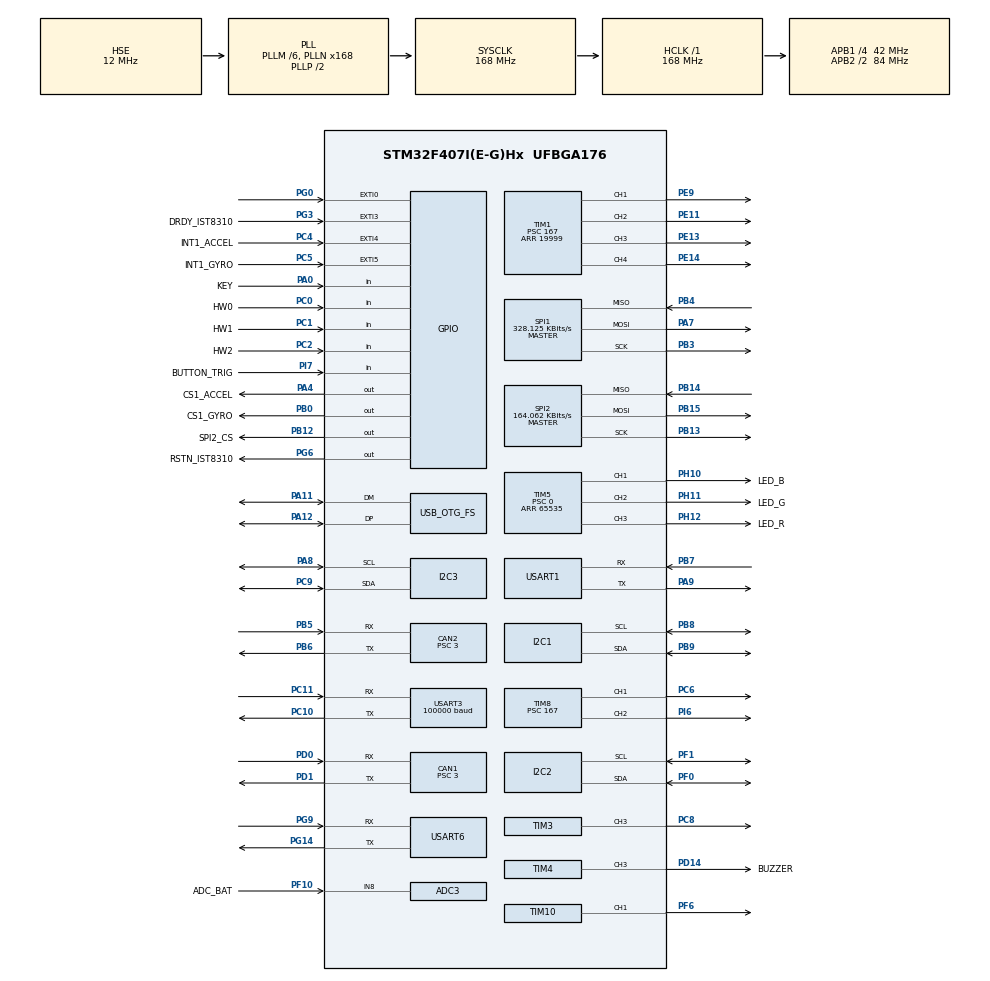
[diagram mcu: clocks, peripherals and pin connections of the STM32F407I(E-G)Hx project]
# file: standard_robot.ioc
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ADC1.Channel-0\#ChannelRegularConversion=ADC_CHANNEL_TEMPSENSOR
ADC1.ClockPrescaler=ADC_CLOCK_SYNC_PCLK_DIV6
ADC1.NbrOfConversionFlag=1
ADC1.Rank-0\#ChannelRegularConversion=1
ADC1.SamplingTime-0\#ChannelRegularConversion=ADC_SAMPLETIME_3CYCLES
ADC1.master=1
ADC3.Channel-0\#ChannelRegularConversion=ADC_CHANNEL_8
ADC3.ClockPrescaler=ADC_CLOCK_SYNC_PCLK_DIV6
ADC3.NbrOfConversionFlag=1
ADC3.Rank-0\#ChannelRegularConversion=1
ADC3.SamplingTime-0\#ChannelRegularConversion=ADC_SAMPLETIME_3CYCLES
CAN1.BS1=CAN_BS1_10TQ
CAN1.BS2=CAN_BS2_3TQ
CAN1.CalculateBaudRate=1000000
CAN1.CalculateTimeBit=999.99
CAN1.CalculateTimeQuantum=71.42857142857143
CAN1.Prescaler=3
CAN2.BS1=CAN_BS1_10TQ
CAN2.BS2=CAN_BS2_3TQ
CAN2.CalculateBaudRate=1000000
CAN2.CalculateTimeBit=999.99
CAN2.CalculateTimeQuantum=71.42857142857143
CAN2.Prescaler=3
Dma.I2C2_TX.2.Direction=DMA_MEMORY_TO_PERIPH
Dma.I2C2_TX.2.FIFOMode=DMA_FIFOMODE_DISABLE
Dma.I2C2_TX.2.Instance=DMA1_Stream7
Dma.I2C2_TX.2.MemDataAlignment=DMA_MDATAALIGN_BYTE
Dma.I2C2_TX.2.MemInc=DMA_MINC_ENABLE
Dma.I2C2_TX.2.Mode=DMA_NORMAL
Dma.I2C2_TX.2.PeriphDataAlignment=DMA_PDATAALIGN_BYTE
Dma.I2C2_TX.2.PeriphInc=DMA_PINC_DISABLE
Dma.I2C2_TX.2.Priority=DMA_PRIORITY_HIGH
Dma.Request0=SPI1_RX
Dma.Request1=SPI1_TX
Dma.Request2=I2C2_TX
Dma.Request3=USART3_RX
Dma.Request4=USART6_RX
Dma.Request5=USART6_TX
Dma.Request6=USART1_TX
Dma.SPI1_RX.0.Direction=DMA_PERIPH_TO_MEMORY
Dma.SPI1_RX.0.FIFOMode=DMA_FIFOMODE_DISABLE
Dma.SPI1_RX.0.Instance=DMA2_Stream2
Dma.SPI1_RX.0.MemDataAlignment=DMA_MDATAALIGN_BYTE
Dma.SPI1_RX.0.MemInc=DMA_MINC_ENABLE
Dma.SPI1_RX.0.Mode=DMA_NORMAL
Dma.SPI1_RX.0.PeriphDataAlignment=DMA_PDATAALIGN_BYTE
Dma.SPI1_RX.0.PeriphInc=DMA_PINC_DISABLE
Dma.SPI1_RX.0.Priority=DMA_PRIORITY_VERY_HIGH
Dma.SPI1_TX.1.Direction=DMA_MEMORY_TO_PERIPH
Dma.SPI1_TX.1.FIFOMode=DMA_FIFOMODE_DISABLE
Dma.SPI1_TX.1.Instance=DMA2_Stream3
Dma.SPI1_TX.1.MemDataAlignment=DMA_MDATAALIGN_BYTE
Dma.SPI1_TX.1.MemInc=DMA_MINC_ENABLE
Dma.SPI1_TX.1.Mode=DMA_NORMAL
Dma.SPI1_TX.1.PeriphDataAlignment=DMA_PDATAALIGN_BYTE
Dma.SPI1_TX.1.PeriphInc=DMA_PINC_DISABLE
Dma.SPI1_TX.1.Priority=DMA_PRIORITY_HIGH
Dma.USART1_TX.6.Direction=DMA_MEMORY_TO_PERIPH
Dma.USART1_TX.6.FIFOMode=DMA_FIFOMODE_DISABLE
Dma.USART1_TX.6.Instance=DMA2_Stream7
Dma.USART1_TX.6.MemDataAlignment=DMA_MDATAALIGN_BYTE
Dma.USART1_TX.6.MemInc=DMA_MINC_ENABLE
Dma.USART1_TX.6.Mode=DMA_NORMAL
Dma.USART1_TX.6.PeriphDataAlignment=DMA_PDATAALIGN_BYTE
Dma.USART1_TX.6.PeriphInc=DMA_PINC_DISABLE
Dma.USART1_TX.6.Priority=DMA_PRIORITY_MEDIUM
Dma.USART3_RX.3.Direction=DMA_PERIPH_TO_MEMORY
Dma.USART3_RX.3.FIFOMode=DMA_FIFOMODE_DISABLE
Dma.USART3_RX.3.Instance=DMA1_Stream1
Dma.USART3_RX.3.MemDataAlignment=DMA_MDATAALIGN_BYTE
Dma.USART3_RX.3.MemInc=DMA_MINC_ENABLE
Dma.USART3_RX.3.Mode=DMA_NORMAL
Dma.USART3_RX.3.PeriphDataAlignment=DMA_PDATAALIGN_BYTE
Dma.USART3_RX.3.PeriphInc=DMA_PINC_DISABLE
Dma.USART3_RX.3.Priority=DMA_PRIORITY_HIGH
Dma.USART6_RX.4.Direction=DMA_PERIPH_TO_MEMORY
Dma.USART6_RX.4.FIFOMode=DMA_FIFOMODE_DISABLE
Dma.USART6_RX.4.Instance=DMA2_Stream1
Dma.USART6_RX.4.MemDataAlignment=DMA_MDATAALIGN_BYTE
Dma.USART6_RX.4.MemInc=DMA_MINC_ENABLE
Dma.USART6_RX.4.Mode=DMA_NORMAL
Dma.USART6_RX.4.PeriphDataAlignment=DMA_PDATAALIGN_BYTE
Dma.USART6_RX.4.PeriphInc=DMA_PINC_DISABLE
Dma.USART6_RX.4.Priority=DMA_PRIORITY_HIGH
Dma.USART6_TX.5.Direction=DMA_MEMORY_TO_PERIPH
Dma.USART6_TX.5.FIFOMode=DMA_FIFOMODE_DISABLE
Dma.USART6_TX.5.Instance=DMA2_Stream6
Dma.USART6_TX.5.MemDataAlignment=DMA_MDATAALIGN_BYTE
Dma.USART6_TX.5.MemInc=DMA_MINC_ENABLE
Dma.USART6_TX.5.Mode=DMA_NORMAL
Dma.USART6_TX.5.PeriphDataAlignment=DMA_PDATAALIGN_BYTE
Dma.USART6_TX.5.PeriphInc=DMA_PINC_DISABLE
Dma.USART6_TX.5.Priority=DMA_PRIORITY_MEDIUM
FREERTOS.INCLUDE_eTaskGetState=1
FREERTOS.INCLUDE_pcTaskGetTaskName=1
FREERTOS.INCLUDE_uxTaskGetStackHighWaterMark=1
FREERTOS.INCLUDE_vTaskCleanUpResources=1
FREERTOS.INCLUDE_vTaskDelayUntil=1
FREERTOS.INCLUDE_xEventGroupSetBitFromISR=1
FREERTOS.INCLUDE_xQueueGetMutexHolder=1
FREERTOS.INCLUDE_xSemaphoreGetMutexHolder=1
FREERTOS.INCLUDE_xTaskAbortDelay=1
FREERTOS.INCLUDE_xTaskGetCurrentTaskHandle=1
FREERTOS.INCLUDE_xTaskGetHandle=1
FREERTOS.INCLUDE_xTimerPendFunctionCall=1
FREERTOS.Tasks01=test,24,128,test_task,As weak,NULL,Dynamic,NULL,NULL
FREERTOS.configTOTAL_HEAP_SIZE=24576
I2C1.I2C_Mode=I2C_Fast
I2C2.I2C_Mode=I2C_Fast
I2C3.I2C_Mode=I2C_Fast
Mcu.Family=STM32F4
Mcu.Name=STM32F407I(E-G)Hx
Mcu.Package=UFBGA176
NVIC.CAN1_RX0_IRQn=true\:6\:0\:true\:false\:true\:true\:true\:true
NVIC.CAN2_RX0_IRQn=true\:6\:0\:true\:false\:true\:true\:true\:true
NVIC.DMA1_Stream1_IRQn=true\:5\:0\:true\:false\:false\:true\:false\:false
NVIC.DMA1_Stream7_IRQn=true\:5\:0\:true\:false\:false\:true\:false\:true
NVIC.DMA2_Stream1_IRQn=true\:5\:0\:true\:false\:true\:true\:false\:true
NVIC.DMA2_Stream2_IRQn=true\:5\:0\:true\:false\:false\:true\:false\:true
NVIC.DMA2_Stream3_IRQn=true\:5\:0\:true\:false\:false\:true\:false\:true
NVIC.DMA2_Stream6_IRQn=true\:5\:0\:true\:false\:true\:true\:false\:true
NVIC.DMA2_Stream7_IRQn=true\:5\:0\:true\:false\:true\:true\:false\:true
NVIC.EXTI0_IRQn=true\:6\:0\:true\:false\:true\:true\:true\:true
NVIC.EXTI3_IRQn=true\:5\:0\:true\:false\:true\:true\:true\:true
NVIC.EXTI4_IRQn=true\:5\:0\:true\:false\:true\:true\:true\:true
NVIC.EXTI9_5_IRQn=true\:5\:0\:true\:false\:true\:true\:true\:true
NVIC.OTG_FS_IRQn=true\:5\:0\:false\:false\:true\:true\:false\:true
NVIC.PriorityGroup=NVIC_PRIORITYGROUP_4
NVIC.USART3_IRQn=true\:4\:0\:true\:false\:false\:false\:true\:true
NVIC.USART6_IRQn=true\:5\:0\:true\:false\:false\:true\:true\:true
PA0-WKUP.GPIO_Label=KEY
PA0-WKUP.GPIO_PuPd=GPIO_PULLUP
PA0-WKUP.Signal=GPIO_Input
PA11.Mode=Device_Only
PA11.Signal=USB_OTG_FS_DM
PA12.Mode=Device_Only
PA12.Signal=USB_OTG_FS_DP
PA13.Mode=Serial_Wire
PA13.Signal=SYS_JTMS-SWDIO
PA14.Mode=Serial_Wire
PA14.Signal=SYS_JTCK-SWCLK
PA4.GPIO_Label=CS1_ACCEL
PA4.GPIO_PuPd=GPIO_PULLUP
PA4.GPIO_Speed=GPIO_SPEED_FREQ_HIGH
PA4.PinState=GPIO_PIN_SET
PA4.Signal=GPIO_Output
PA7.GPIO_PuPd=GPIO_PULLUP
PA7.Mode=Full_Duplex_Master
PA7.Signal=SPI1_MOSI
PA8.Mode=I2C
PA8.Signal=I2C3_SCL
PA9.Mode=Asynchronous
PA9.Signal=USART1_TX
PB0.GPIO_Label=CS1_GYRO
PB0.GPIO_PuPd=GPIO_PULLUP
PB0.GPIO_Speed=GPIO_SPEED_FREQ_HIGH
PB0.PinState=GPIO_PIN_SET
PB0.Signal=GPIO_Output
PB12.GPIO_Label=SPI2_CS
PB12.GPIO_PuPd=GPIO_PULLUP
PB12.GPIO_Speed=GPIO_SPEED_FREQ_MEDIUM
PB12.PinState=GPIO_PIN_SET
PB12.Signal=GPIO_Output
PB13.GPIO_PuPd=GPIO_PULLUP
PB13.Mode=Full_Duplex_Master
PB13.Signal=SPI2_SCK
PB14.GPIO_PuPd=GPIO_PULLUP
PB14.Mode=Full_Duplex_Master
PB14.Signal=SPI2_MISO
PB15.GPIO_PuPd=GPIO_PULLUP
PB15.Mode=Full_Duplex_Master
PB15.Signal=SPI2_MOSI
PB3.GPIO_PuPd=GPIO_PULLUP
PB3.Mode=Full_Duplex_Master
PB3.Signal=SPI1_SCK
PB4.GPIO_PuPd=GPIO_PULLUP
PB4.Mode=Full_Duplex_Master
PB4.Signal=SPI1_MISO
PB5.Mode=CAN_Activate
PB5.Signal=CAN2_RX
PB6.Mode=CAN_Activate
PB6.Signal=CAN2_TX
PB7.Mode=Asynchronous
PB7.Signal=USART1_RX
PB8.Mode=I2C
PB8.Signal=I2C1_SCL
PB9.Mode=I2C
PB9.Signal=I2C1_SDA
PC0.GPIO_Label=HW0
PC0.Signal=GPIO_Input
PC1.GPIO_Label=HW1
PC1.Signal=GPIO_Input
PC10.Mode=Asynchronous
PC10.Signal=USART3_TX
PC11.Mode=Asynchronous
PC11.Signal=USART3_RX
PC2.GPIO_Label=HW2
PC2.Signal=GPIO_Input
PC4.GPIO_Label=INT1_ACCEL
PC4.GPIO_ModeDefaultEXTI=GPIO_MODE_IT_FALLING
PC4.GPIO_PuPd=GPIO_PULLUP
PC4.Signal=GPXTI4
PC5.GPIO_Label=INT1_GYRO
PC5.GPIO_ModeDefaultEXTI=GPIO_MODE_IT_FALLING
PC5.GPIO_PuPd=GPIO_PULLUP
PC5.Signal=GPXTI5
PC6.GPIO_PuPd=GPIO_PULLUP
PC6.GPIO_Speed=GPIO_SPEED_FREQ_HIGH
PC6.Signal=S_TIM8_CH1
PC8.GPIO_PuPd=GPIO_PULLUP
PC8.GPIO_Speed=GPIO_SPEED_FREQ_HIGH
PC8.Signal=S_TIM3_CH3
PC9.Mode=I2C
PC9.Signal=I2C3_SDA
PD0.Mode=CAN_Activate
PD0.Signal=CAN1_RX
PD1.Mode=CAN_Activate
PD1.Signal=CAN1_TX
PD14.GPIO_Label=BUZZER
PD14.GPIO_PuPd=GPIO_PULLUP
PD14.GPIO_Speed=GPIO_SPEED_FREQ_VERY_HIGH
PD14.Signal=S_TIM4_CH3
PE11.GPIO_PuPd=GPIO_PULLUP
PE11.GPIO_Speed=GPIO_SPEED_FREQ_HIGH
PE11.Signal=S_TIM1_CH2
PE13.GPIO_PuPd=GPIO_PULLUP
PE13.GPIO_Speed=GPIO_SPEED_FREQ_HIGH
PE13.Signal=S_TIM1_CH3
PE14.GPIO_PuPd=GPIO_PULLUP
PE14.GPIO_Speed=GPIO_SPEED_FREQ_HIGH
PE14.Signal=S_TIM1_CH4
PE9.GPIO_PuPd=GPIO_PULLUP
PE9.GPIO_Speed=GPIO_SPEED_FREQ_HIGH
PE9.Signal=S_TIM1_CH1
PF0.Mode=I2C
PF0.Signal=I2C2_SDA
PF1.Mode=I2C
PF1.Signal=I2C2_SCL
PF10.GPIO_Label=ADC_BAT
PF10.Mode=IN8
PF10.Signal=ADC3_IN8
PF6.GPIO_PuPd=GPIO_PULLUP
PF6.GPIO_Speed=GPIO_SPEED_FREQ_HIGH
PF6.Signal=S_TIM10_CH1
PG0.GPIO_ModeDefaultEXTI=GPIO_MODE_IT_FALLING
PG0.GPIO_PuPd=GPIO_PULLUP
PG0.Signal=GPXTI0
PG14.Mode=Asynchronous
PG14.Signal=USART6_TX
PG3.GPIO_Label=DRDY_IST8310
PG3.GPIO_ModeDefaultEXTI=GPIO_MODE_IT_FALLING
PG3.GPIO_PuPd=GPIO_PULLUP
PG3.Signal=GPXTI3
PG6.GPIO_Label=RSTN_IST8310
PG6.GPIO_PuPd=GPIO_PULLUP
PG6.GPIO_Speed=GPIO_SPEED_FREQ_MEDIUM
PG6.PinState=GPIO_PIN_SET
PG6.Signal=GPIO_Output
PG9.Mode=Asynchronous
PG9.Signal=USART6_RX
PH0-OSC_IN.Mode=HSE-External-Oscillator
PH0-OSC_IN.Signal=RCC_OSC_IN
PH1-OSC_OUT.Mode=HSE-External-Oscillator
PH1-OSC_OUT.Signal=RCC_OSC_OUT
PH10.GPIO_Label=LED_B
PH10.GPIO_PuPd=GPIO_PULLUP
PH10.GPIO_Speed=GPIO_SPEED_FREQ_HIGH
PH10.Signal=S_TIM5_CH1
PH11.GPIO_Label=LED_G
PH11.GPIO_PuPd=GPIO_PULLUP
PH11.GPIO_Speed=GPIO_SPEED_FREQ_HIGH
PH11.Signal=S_TIM5_CH2
PH12.GPIO_Label=LED_R
PH12.GPIO_PuPd=GPIO_PULLUP
PH12.GPIO_Speed=GPIO_SPEED_FREQ_HIGH
PH12.Signal=S_TIM5_CH3
PI6.GPIO_PuPd=GPIO_PULLUP
PI6.GPIO_Speed=GPIO_SPEED_FREQ_HIGH
PI6.Signal=S_TIM8_CH2
PI7.GPIO_Label=BUTTON_TRIG
PI7.GPIO_PuPd=GPIO_PULLUP
PI7.Signal=GPIO_Input
ProjectManager.HeapSize=0x2000
ProjectManager.StackSize=0x2000
ProjectManager.TargetToolchain=MDK-ARM V5
RCC.48MHZClocksFreq_Value=48000000
RCC.AHBFreq_Value=168000000
RCC.APB1CLKDivider=RCC_HCLK_DIV4
RCC.APB1Freq_Value=42000000
RCC.APB1TimFreq_Value=84000000
RCC.APB2CLKDivider=RCC_HCLK_DIV2
RCC.APB2Freq_Value=84000000
RCC.APB2TimFreq_Value=168000000
RCC.CortexFreq_Value=168000000
RCC.HCLKFreq_Value=168000000
RCC.HSE_VALUE=12000000
RCC.HSI_VALUE=16000000
RCC.LSE_VALUE=32768
RCC.PLLM=6
RCC.PLLN=168
RCC.PLLQ=7
RCC.RCC_RTC_Clock_SourceVirtual=RCC_RTCCLKSOURCE_HSE_DIV30
RCC.RCC_RTC_Clock_Source_FROM_HSE=RCC_RTCCLKSOURCE_HSE_DIV30
RCC.SYSCLKFreq_VALUE=168000000
RCC.SYSCLKSource=RCC_SYSCLKSOURCE_PLLCLK
RCC.VCOOutputFreq_Value=336000000
RTC.AsynchPrediv=124
RTC.SynchPrediv=3199
SH.S_TIM10_CH1.0=TIM10_CH1,PWM Generation1 CH1
SH.S_TIM1_CH1.0=TIM1_CH1,PWM Generation1 CH1
SH.S_TIM1_CH2.0=TIM1_CH2,PWM Generation2 CH2
SH.S_TIM1_CH3.0=TIM1_CH3,PWM Generation3 CH3
SH.S_TIM1_CH4.0=TIM1_CH4,PWM Generation4 CH4
SH.S_TIM3_CH3.0=TIM3_CH3,PWM Generation3 CH3
SH.S_TIM4_CH3.0=TIM4_CH3,PWM Generation3 CH3
SH.S_TIM5_CH1.0=TIM5_CH1,PWM Generation1 CH1
SH.S_TIM5_CH2.0=TIM5_CH2,PWM Generation2 CH2
SH.S_TIM5_CH3.0=TIM5_CH3,PWM Generation3 CH3
SH.S_TIM8_CH1.0=TIM8_CH1,PWM Generation1 CH1
SH.S_TIM8_CH2.0=TIM8_CH2,PWM Generation2 CH2
SPI1.BaudRatePrescaler=SPI_BAUDRATEPRESCALER_256
SPI1.CLKPhase=SPI_PHASE_2EDGE
SPI1.CLKPolarity=SPI_POLARITY_HIGH
SPI1.CalculateBaudRate=328.125 KBits/s
SPI1.Direction=SPI_DIRECTION_2LINES
SPI1.Mode=SPI_MODE_MASTER
SPI1.VirtualType=VM_MASTER
SPI2.BaudRatePrescaler=SPI_BAUDRATEPRESCALER_256
SPI2.CLKPhase=SPI_PHASE_2EDGE
SPI2.CLKPolarity=SPI_POLARITY_HIGH
SPI2.CalculateBaudRate=164.062 KBits/s
SPI2.Direction=SPI_DIRECTION_2LINES
SPI2.Mode=SPI_MODE_MASTER
SPI2.VirtualType=VM_MASTER
TIM1.Channel-PWM\ Generation1\ CH1=TIM_CHANNEL_1
TIM1.Channel-PWM\ Generation2\ CH2=TIM_CHANNEL_2
TIM1.Channel-PWM\ Generation3\ CH3=TIM_CHANNEL_3
TIM1.Channel-PWM\ Generation4\ CH4=TIM_CHANNEL_4
TIM1.Period=19999
TIM1.Prescaler=167
TIM1.Pulse-PWM\ Generation1\ CH1=1000
TIM1.Pulse-PWM\ Generation2\ CH2=1000
TIM1.Pulse-PWM\ Generation3\ CH3=1000
TIM1.Pulse-PWM\ Generation4\ CH4=1000
TIM10.Channel=TIM_CHANNEL_1
TIM10.Period=4999
TIM3.Channel-PWM\ Generation3\ CH3=TIM_CHANNEL_3
TIM3.Period=8399
TIM4.Channel-PWM\ Generation3\ CH3=TIM_CHANNEL_3
TIM4.Period=65535
TIM4.Prescaler=167
TIM5.Channel-PWM\ Generation1\ CH1=TIM_CHANNEL_1
TIM5.Channel-PWM\ Generation2\ CH2=TIM_CHANNEL_2
TIM5.Channel-PWM\ Generation3\ CH3=TIM_CHANNEL_3
TIM5.Period=65535
TIM5.Prescaler=0
TIM8.Channel-PWM\ Generation1\ CH1=TIM_CHANNEL_1
TIM8.Channel-PWM\ Generation2\ CH2=TIM_CHANNEL_2
TIM8.Period=19999
TIM8.Prescaler=167
TIM8.Pulse-PWM\ Generation1\ CH1=1000
TIM8.Pulse-PWM\ Generation2\ CH2=1000
USART1.VirtualMode=VM_ASYNC
USART3.BaudRate=100000
USART3.Parity=PARITY_EVEN
USART3.VirtualMode=VM_ASYNC
USART6.VirtualMode=VM_ASYNC
USB_DEVICE.CLASS_NAME_FS=CDC
USB_DEVICE.VirtualMode-CDC_FS=Cdc
USB_DEVICE.VirtualModeFS=Cdc_FS
USB_OTG_FS.VirtualMode=Device_Only
VP_ADC1_TempSens_Input.Mode=IN-TempSens
VP_ADC1_Vref_Input.Mode=IN-Vrefint
VP_CRC_VS_CRC.Mode=CRC_Activate
VP_FREERTOS_VS_CMSIS_V1.Mode=CMSIS_V1
VP_RNG_VS_RNG.Mode=RNG_Activate
VP_RTC_VS_RTC_Activate.Mode=RTC_Enabled
VP_TIM10_VS_ClockSourceINT.Mode=Enable_Timer
VP_TIM1_VS_ClockSourceINT.Mode=Internal
VP_TIM3_VS_ClockSourceINT.Mode=Internal
VP_TIM4_VS_ClockSourceINT.Mode=Internal
VP_TIM5_VS_ClockSourceINT.Mode=Internal
VP_TIM8_VS_ClockSourceINT.Mode=Internal
VP_USB_DEVICE_VS_USB_DEVICE_CDC_FS.Mode=CDC_FS
board=custom

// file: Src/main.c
/* USER CODE BEGIN Header */
/**
  ******************************************************************************
  * @file           : main.c
  * @brief          : Main program body
  ******************************************************************************
  * @attention
  *
  * <h2><center>&copy; Copyright (c) 2019 STMicroelectronics.
  * All rights reserved.</center></h2>
  *
  * This software component is licensed by ST under Ultimate Liberty license
  * SLA0044, the "License"; You may not use this file except in compliance with
  * the License. You may obtain a copy of the License at:
  *                             www.st.com/SLA0044
  *
  ******************************************************************************
  */
/* USER CODE END Header */

#include "main.h"
#include "cmsis_os.h"
#include "adc.h"
#include "can.h"
#include "crc.h"
#include "dma.h"
#include "i2c.h"
#include "rng.h"
#include "rtc.h"
#include "spi.h"
#include "tim.h"
#include "usart.h"
#include "usb_device.h"
#include "gpio.h"

/* USER CODE BEGIN Includes */
#include "bsp_can.h"
#include "bsp_delay.h"
#include "bsp_usart.h"
#include "remote_control.h"

#include "calibrate_task.h"
#include "chassis_task.h"
#include "detect_task.h"
#include "gimbal_task.h"
#include "INS_task.h"
#include "led_flow_task.h"
#include "referee_usart_task.h"
#include "usb_task.h"
#include "voltage_task.h"
/* USER CODE END Includes */

void SystemClock_Config(void);
void MX_FREERTOS_Init(void);

int main(void)
{

  /* MCU Configuration--------------------------------------------------------*/

  /* Reset of all peripherals, Initializes the Flash interface and the Systick. */
  HAL_Init();

  /* Configure the system clock */
  SystemClock_Config();

  /* Initialize all configured peripherals */
  MX_GPIO_Init();
  MX_DMA_Init();
  MX_ADC1_Init();
  MX_ADC3_Init();
  MX_CAN1_Init();
  MX_CAN2_Init();
  MX_I2C1_Init();
	MX_SPI1_Init();
  MX_TIM4_Init();
  MX_TIM5_Init();
  MX_USART3_UART_Init();
  MX_TIM8_Init();
  MX_CRC_Init();
  MX_RNG_Init();
  MX_I2C2_Init();
  MX_I2C3_Init();
  MX_RTC_Init();
  MX_SPI2_Init();
  MX_TIM1_Init();
  MX_TIM3_Init();
  MX_TIM10_Init();
  MX_USART1_UART_Init();
  MX_USART6_UART_Init();
  /* USER CODE BEGIN 2 */
    can_filter_init();
    delay_init();
    cali_param_init();
    remote_control_init();
    usart1_tx_dma_init();
  /* USER CODE END 2 */

  /* Call init function for freertos objects (in freertos.c) */
  MX_FREERTOS_Init();

  /* Start scheduler */
  osKernelStart();

  /* We should never get here as control is now taken by the scheduler */

  /* Infinite loop */
  while (1)
  {

  }
}

void SystemClock_Config(void)
{
  RCC_OscInitTypeDef RCC_OscInitStruct = {0};
  RCC_ClkInitTypeDef RCC_ClkInitStruct = {0};
  RCC_PeriphCLKInitTypeDef PeriphClkInitStruct = {0};

  /** Configure the main internal regulator output voltage
  */
  __HAL_RCC_PWR_CLK_ENABLE();
  __HAL_PWR_VOLTAGESCALING_CONFIG(PWR_REGULATOR_VOLTAGE_SCALE1);
  /** Initializes the CPU, AHB and APB busses clocks
  */
  RCC_OscInitStruct.OscillatorType = RCC_OSCILLATORTYPE_HSE;
  RCC_OscInitStruct.HSEState = RCC_HSE_ON;
  RCC_OscInitStruct.PLL.PLLState = RCC_PLL_ON;
  RCC_OscInitStruct.PLL.PLLSource = RCC_PLLSOURCE_HSE;
  RCC_OscInitStruct.PLL.PLLM = 6;
  RCC_OscInitStruct.PLL.PLLN = 168;
  RCC_OscInitStruct.PLL.PLLP = RCC_PLLP_DIV2;
  RCC_OscInitStruct.PLL.PLLQ = 7;
  if (HAL_RCC_OscConfig(&RCC_OscInitStruct) != HAL_OK)
  {
    Error_Handler();
  }
  /** Initializes the CPU, AHB and APB busses clocks
  */
  RCC_ClkInitStruct.ClockType = RCC_CLOCKTYPE_HCLK|RCC_CLOCKTYPE_SYSCLK
                              |RCC_CLOCKTYPE_PCLK1|RCC_CLOCKTYPE_PCLK2;
  RCC_ClkInitStruct.SYSCLKSource = RCC_SYSCLKSOURCE_PLLCLK;
  RCC_ClkInitStruct.AHBCLKDivider = RCC_SYSCLK_DIV1;
  RCC_ClkInitStruct.APB1CLKDivider = RCC_HCLK_DIV4;
  RCC_ClkInitStruct.APB2CLKDivider = RCC_HCLK_DIV2;

  if (HAL_RCC_ClockConfig(&RCC_ClkInitStruct, FLASH_LATENCY_5) != HAL_OK)
  {
    Error_Handler();
  }
  PeriphClkInitStruct.PeriphClockSelection = RCC_PERIPHCLK_RTC;
  PeriphClkInitStruct.RTCClockSelection = RCC_RTCCLKSOURCE_HSE_DIV30;
  if (HAL_RCCEx_PeriphCLKConfig(&PeriphClkInitStruct) != HAL_OK)
  {
    Error_Handler();
  }
}

void Error_Handler(void)
{
}

/************************ (C) COPYRIGHT STMicroelectronics *****END OF FILE****/

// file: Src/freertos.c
/* USER CODE BEGIN Header */
/**
 ******************************************************************************
 * File Name          : freertos.c
 * Description        : Code for freertos applications
 ******************************************************************************
 * @attention
 *
 * <h2><center>&copy; Copyright (c) 2019 STMicroelectronics.
 * All rights reserved.</center></h2>
 *
 * This software component is licensed by ST under Ultimate Liberty license
 * SLA0044, the "License"; You may not use this file except in compliance with
 * the License. You may obtain a copy of the License at:
 *                             www.st.com/SLA0044
 *
 ******************************************************************************
 */
/* USER CODE END Header */

#include "FreeRTOS.h"

#include "cmsis_os.h"
#include "main.h"
#include "task.h"

/* USER CODE BEGIN Includes */

#include "INS_task.h"
#include "test_task.h"
#include "User_Task.h"
#include "calibrate_task.h"
#include "chassis_task.h"
#include "detect_task.h"
#include "gimbal_task.h"
#include "led_flow_task.h"
#include "referee_usart_task.h"
#include "servo_task.h"
#include "usb_task.h"
#include "vision.h"
#include "voltage_task.h"

/* USER CODE END Includes */

/* USER CODE BEGIN PTD */
osThreadId stats_task_handle;

osThreadId calibrate_tast_handle;
osThreadId chassisTaskHandle;
osThreadId detect_handle;
osThreadId gimbalTaskHandle;
osThreadId imuTaskHandle;
osThreadId led_RGB_flow_handle;
osThreadId oled_handle;
osThreadId referee_usart_task_handle;
osThreadId usb_task_handle;
osThreadId battery_voltage_handle;
osThreadId servo_task_handle;
osThreadId user_task_handle;
osThreadId vision_task_handle;

/* USER CODE END PTD */

osThreadId testHandle;

void stats_task(void const *argument);

extern void MX_USB_DEVICE_Init(void);
void MX_FREERTOS_Init(void); /* (MISRA C 2004 rule 8.1) */

/* GetIdleTaskMemory prototype (linked to static allocation support) */
void vApplicationGetIdleTaskMemory(StaticTask_t **ppxIdleTaskTCBBuffer, StackType_t **ppxIdleTaskStackBuffer, uint32_t *pulIdleTaskStackSize);

/* GetTimerTaskMemory prototype (linked to static allocation support) */
void vApplicationGetTimerTaskMemory(StaticTask_t **ppxTimerTaskTCBBuffer, StackType_t **ppxTimerTaskStackBuffer, uint32_t *pulTimerTaskStackSize);

/* USER CODE BEGIN GET_IDLE_TASK_MEMORY */
static StaticTask_t xIdleTaskTCBBuffer;
static StackType_t xIdleStack[configMINIMAL_STACK_SIZE];

void vApplicationGetIdleTaskMemory(StaticTask_t **ppxIdleTaskTCBBuffer, StackType_t **ppxIdleTaskStackBuffer, uint32_t *pulIdleTaskStackSize) {
    *ppxIdleTaskTCBBuffer = &xIdleTaskTCBBuffer;
    *ppxIdleTaskStackBuffer = &xIdleStack[0];
    *pulIdleTaskStackSize = configMINIMAL_STACK_SIZE;
    /* place for user code */
}
/* USER CODE END GET_IDLE_TASK_MEMORY */

/* USER CODE BEGIN GET_TIMER_TASK_MEMORY */
static StaticTask_t xTimerTaskTCBBuffer;
static StackType_t xTimerStack[configTIMER_TASK_STACK_DEPTH];

void vApplicationGetTimerTaskMemory(StaticTask_t **ppxTimerTaskTCBBuffer, StackType_t **ppxTimerTaskStackBuffer, uint32_t *pulTimerTaskStackSize) {
    *ppxTimerTaskTCBBuffer = &xTimerTaskTCBBuffer;
    *ppxTimerTaskStackBuffer = &xTimerStack[0];
    *pulTimerTaskStackSize = configTIMER_TASK_STACK_DEPTH;
    /* place for user code */
}
/* USER CODE END GET_TIMER_TASK_MEMORY */

void MX_FREERTOS_Init(void) {

    /* Create the thread(s) */
    /* definition and creation of test */
    osThreadDef(test, test_task, osPriorityNormal, 0, 128);
    testHandle = osThreadCreate(osThread(test), NULL);

    /* USER CODE BEGIN RTOS_THREADS */
    /* add threads, ... */
		osThreadDef(stats, stats_task, osPriorityNormal, 0, 128);
    stats_task_handle = osThreadCreate(osThread(stats), NULL);

//    osThreadDef(cali, calibrate_task, osPriorityNormal, 0, 512);
//    calibrate_tast_handle = osThreadCreate(osThread(cali), NULL);

    osThreadDef(ChassisTask, chassis_task, osPriorityHigh, 0, 512);
    chassisTaskHandle = osThreadCreate(osThread(ChassisTask), NULL);

    osThreadDef(DETECT, detect_task, osPriorityNormal, 0, 256);
    detect_handle = osThreadCreate(osThread(DETECT), NULL);

//    osThreadDef(gimbalTask, gimbal_task, osPriorityHigh, 0, 512);
//    gimbalTaskHandle = osThreadCreate(osThread(gimbalTask), NULL);

//    osThreadDef(imuTask, INS_task, osPriorityRealtime, 0, 1024);
//    imuTaskHandle = osThreadCreate(osThread(imuTask), NULL);

    osThreadDef(led, led_RGB_flow_task, osPriorityNormal, 0, 256);
    led_RGB_flow_handle = osThreadCreate(osThread(led), NULL);

    osThreadDef(REFEREE, referee_usart_task, osPriorityNormal, 0, 128);
    referee_usart_task_handle = osThreadCreate(osThread(REFEREE), NULL);

    osThreadDef(USBTask, usb_task, osPriorityNormal, 0, 128);
    usb_task_handle = osThreadCreate(osThread(USBTask), NULL);

    osThreadDef(BATTERY_VOLTAGE, battery_voltage_task, osPriorityNormal, 0, 128);
    battery_voltage_handle = osThreadCreate(osThread(BATTERY_VOLTAGE), NULL);

    osThreadDef(SERVO, servo_task, osPriorityNormal, 0, 128);
    servo_task_handle = osThreadCreate(osThread(SERVO), NULL);

    //		osThreadDef(UI_SEND, referee_task, osPriorityNormal, 0, 128);
    //    ui_send_task_handle = osThreadCreate(osThread(UI_SEND), NULL);

    osThreadDef(USER_TASK, UserTask, osPriorityNormal, 0, 1024);
    user_task_handle = osThreadCreate(osThread(USER_TASK), NULL);

    osThreadDef(VISION_TASK, Vision_task, osPriorityNormal, 0, 128);
    vision_task_handle = osThreadCreate(osThread(VISION_TASK), NULL);

    /* USER CODE END RTOS_THREADS */
}
#include <stdio.h>
#include "usbd_cdc_if.h"
#include "user_lib.h"
#include "task.h"
/* USER CODE BEGIN Header_test_task */
volatile long long FreeRTOSRunTimeTicks;
void ConfigureTimeForRunTimeStats(){
  FreeRTOSRunTimeTicks = 0;
}
/**
 * @brief  Function implementing the test thread.
 * @param  argument: Not used
 * @retval None
 */
/* USER CODE END Header_test_task */
void stats_task(void const *argument) {
    /* init code for USB_DEVICE */
    MX_USB_DEVICE_Init();

    /* USER CODE BEGIN test_task */
    /* Infinite loop */
    for (;;) {
        // uint8_t *pcWriteBuffer = malloc(500);
        char *pcWriteBuffer = malloc(500);
        uint8_t running_times = 0;
        while (1) {
            // ​        uint8_t  running_times = 0;
            running_times++;
            if (running_times % 100 == 0) {
                // running_times++;
                vTaskList((char *)pcWriteBuffer);
                vTaskGetRunTimeStats((char *)pcWriteBuffer);
                //CDC_Transmit_FS(pcWriteBuffer, strlen(pcWriteBuffer));
            }
            vTaskDelay(20);
        }
        free(pcWriteBuffer);
    }
    /* USER CODE END test_task */
}

/************************ (C) COPYRIGHT STMicroelectronics *****END OF FILE****/
